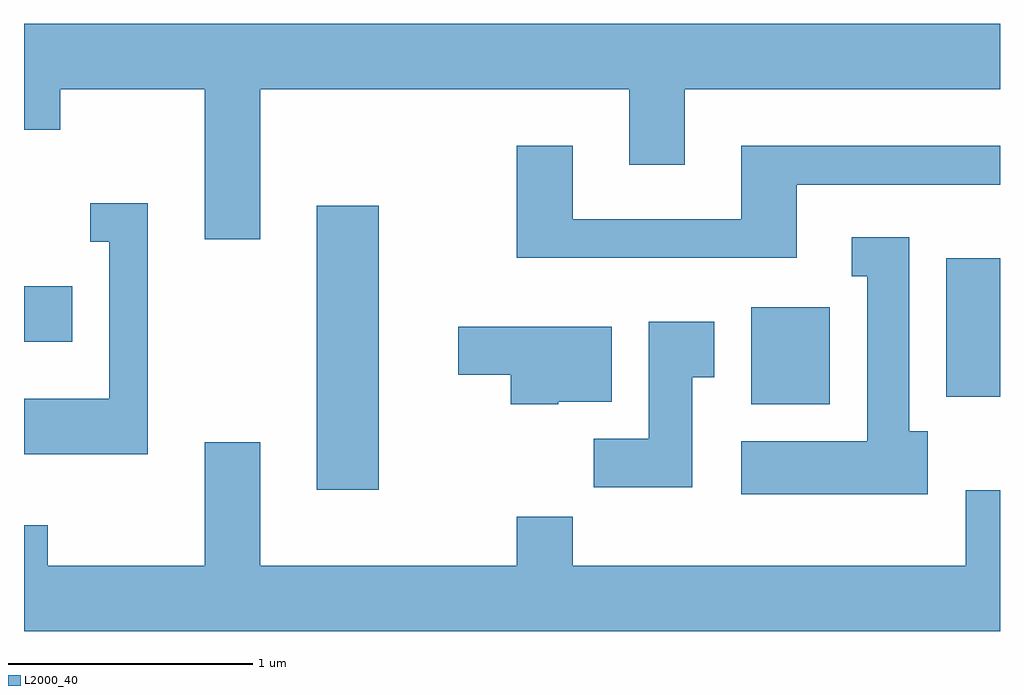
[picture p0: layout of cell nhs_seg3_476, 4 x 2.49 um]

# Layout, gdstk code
import gdstk
lib = gdstk.Library(unit=1e-6, precision=1e-09)
def R(c, l, rs):  # rectangles x0, y0, x1, y1
    for r in rs: c.add(gdstk.rectangle(r[:2], r[2:], *l))
def P(c, l, *ps):  # polygons
    for p in ps: c.add(gdstk.Polygon(p, *l))
L2000_40 = (2000, 40)

nhs_seg3_476 = lib.new_cell('nhs_seg3_476')
R(nhs_seg3_476, L2000_40, [(200.811,1117.716,201.064,1118.879), (202.591,1118.066,202.914,1118.464), (203.391,1118.096,203.611,1118.664), (199.611,1118.321,199.809,1118.549)])
P(nhs_seg3_476, L2000_40, [(200.579,1119.356),(202.091,1119.356),(202.091,1119.046),(202.319,1119.046),(202.319,1119.356),(203.611,1119.356),(203.611,1119.624),(199.611,1119.624),(199.611,1119.191),(199.759,1119.191),(199.759,1119.356),(200.351,1119.356),(200.351,1118.741),(200.579,1118.741)],
  [(202.779,1118.966),(203.611,1118.966),(203.611,1119.124),(202.551,1119.124),(202.551,1118.824),(201.859,1118.824),(201.859,1119.124),(201.631,1119.124),(201.631,1118.666),(202.779,1118.666)],
  [(200.119,1118.889),(199.883,1118.889),(199.883,1118.731),(199.961,1118.731),(199.961,1118.089),(199.611,1118.089),(199.611,1117.861),(200.119,1117.861)],
  [(203.314,1117.954),(203.239,1117.954),(203.239,1118.749),(203.003,1118.749),(203.003,1118.591),(203.066,1118.591),(203.066,1117.914),(202.551,1117.914),(202.551,1117.696),(203.314,1117.696)],
  [(202.349,1118.176),(202.439,1118.176),(202.439,1118.404),(202.171,1118.404),(202.171,1117.924),(201.946,1117.924),(201.946,1117.726),(202.349,1117.726)],
  [(201.8,1118.076),(202.019,1118.076),(202.019,1118.384),(201.391,1118.384),(201.391,1118.186),(201.606,1118.186),(201.606,1118.066),(201.8,1118.066)],
  [(203.611,1117.714),(203.471,1117.714),(203.471,1117.404),(201.859,1117.404),(201.859,1117.604),(201.631,1117.604),(201.631,1117.404),(200.579,1117.404),(200.579,1117.909),(200.351,1117.909),(200.351,1117.404),(199.709,1117.404),(199.709,1117.569),(199.611,1117.569),(199.611,1117.136),(203.611,1117.136)])

lib.write_gds('nhs_seg3_476.gds')
